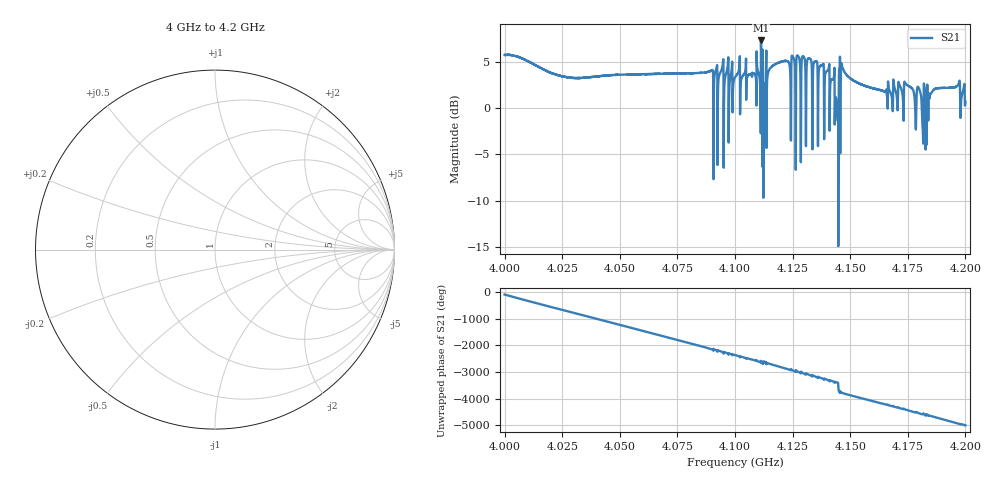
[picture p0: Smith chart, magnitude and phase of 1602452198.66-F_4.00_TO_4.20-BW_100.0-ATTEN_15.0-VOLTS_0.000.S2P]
!Keysight Technologies,E5063A,MY54502693,A.05.04
!Date: Mon Oct 12 06:38:15 2020
!Data & Calibration Information:
!Freq	S11:NONE(--)	S21:NONE(--)	S12:NONE(--)	S22:NONE(--)
# Hz S RI R 50
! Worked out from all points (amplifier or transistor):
!   10000 points, 4 GHz to 4.2 GHz, reference 50 ohm
!   highest |S21| = 7.3 dB at 4.1113 GHz (marker M1)
!   |S21| within 3 dB of that: start of sweep to 4.015781 GHz (the widest 1 of 23)
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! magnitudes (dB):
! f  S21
! 4 GHz  5.7
! 4.0333 GHz  3.3
! 4.0667 GHz  3.7
! 4.1 GHz  3.3
! 4.1096 GHz  4.6
! 4.1113 GHz  7.3
! 4.1128 GHz  -1.1
! 4.1138 GHz  2.1
! 4.1161 GHz  4.5
! 4.1313 GHz  5.1
! 4.1322 GHz  5.4
! 4.1334 GHz  4.2
! 4.14 GHz  4.0
! 4.1422 GHz  3.1
! 4.1441 GHz  0.6
! 4.1468 GHz  4.3
! 4.1667 GHz  2.2
! 4.178 GHz  0.8
! 4.1799 GHz  2.1
! 4.1822 GHz  2.4
! 4.1872 GHz  2.1
! 4.2 GHz  0.7
